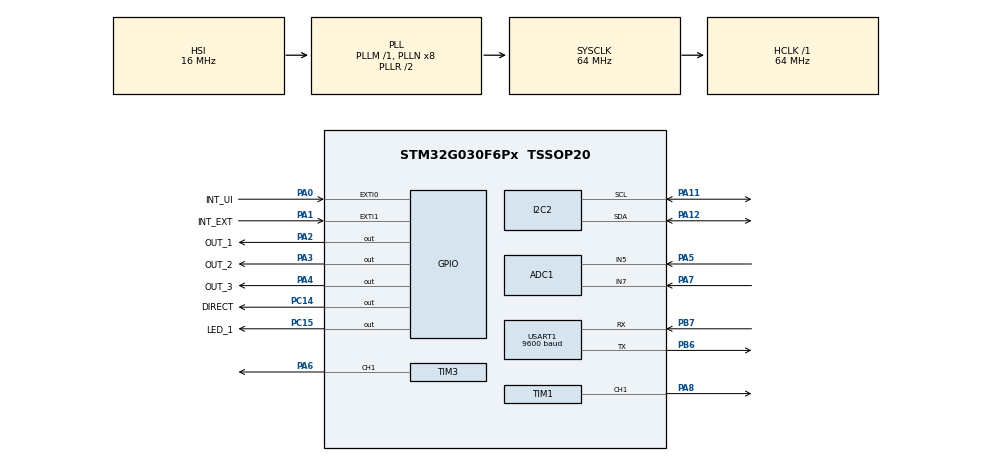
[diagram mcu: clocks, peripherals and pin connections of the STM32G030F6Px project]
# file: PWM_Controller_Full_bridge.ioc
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ADC1.Channel-0\#ChannelRegularConversion=ADC_CHANNEL_7
ADC1.ClockPrescaler=ADC_CLOCK_SYNC_PCLK_DIV4
ADC1.ContinuousConvMode=DISABLE
ADC1.NbrOfConversion=1
ADC1.NbrOfConversionFlag=1
ADC1.Rank-0\#ChannelRegularConversion=1
ADC1.SamplingTime-0\#ChannelRegularConversion=ADC_SAMPLINGTIME_COMMON_1
ADC1.SamplingTimeCommon1=ADC_SAMPLETIME_39CYCLES_5
ADC1.SamplingTimeCommon2=ADC_SAMPLETIME_39CYCLES_5
ADC1.SelectedChannel=ADC_CHANNEL_5|ADC_CHANNEL_7
ADC1.master=1
Dma.Request0=USART1_RX
Dma.Request1=USART1_TX
Dma.USART1_RX.0.Direction=DMA_PERIPH_TO_MEMORY
Dma.USART1_RX.0.EventEnable=DISABLE
Dma.USART1_RX.0.Instance=DMA1_Channel1
Dma.USART1_RX.0.MemDataAlignment=DMA_MDATAALIGN_BYTE
Dma.USART1_RX.0.MemInc=DMA_MINC_ENABLE
Dma.USART1_RX.0.Mode=DMA_NORMAL
Dma.USART1_RX.0.PeriphDataAlignment=DMA_PDATAALIGN_BYTE
Dma.USART1_RX.0.PeriphInc=DMA_PINC_DISABLE
Dma.USART1_RX.0.Polarity=HAL_DMAMUX_REQ_GEN_RISING
Dma.USART1_RX.0.Priority=DMA_PRIORITY_VERY_HIGH
Dma.USART1_RX.0.RequestNumber=1
Dma.USART1_RX.0.SignalID=NONE
Dma.USART1_RX.0.SyncEnable=DISABLE
Dma.USART1_RX.0.SyncPolarity=HAL_DMAMUX_SYNC_NO_EVENT
Dma.USART1_RX.0.SyncRequestNumber=1
Dma.USART1_RX.0.SyncSignalID=NONE
Dma.USART1_TX.1.Direction=DMA_MEMORY_TO_PERIPH
Dma.USART1_TX.1.EventEnable=DISABLE
Dma.USART1_TX.1.Instance=DMA1_Channel2
Dma.USART1_TX.1.MemDataAlignment=DMA_MDATAALIGN_BYTE
Dma.USART1_TX.1.MemInc=DMA_MINC_ENABLE
Dma.USART1_TX.1.Mode=DMA_NORMAL
Dma.USART1_TX.1.PeriphDataAlignment=DMA_PDATAALIGN_BYTE
Dma.USART1_TX.1.PeriphInc=DMA_PINC_DISABLE
Dma.USART1_TX.1.Polarity=HAL_DMAMUX_REQ_GEN_RISING
Dma.USART1_TX.1.Priority=DMA_PRIORITY_HIGH
Dma.USART1_TX.1.RequestNumber=1
Dma.USART1_TX.1.SignalID=NONE
Dma.USART1_TX.1.SyncEnable=DISABLE
Dma.USART1_TX.1.SyncPolarity=HAL_DMAMUX_SYNC_NO_EVENT
Dma.USART1_TX.1.SyncRequestNumber=1
Dma.USART1_TX.1.SyncSignalID=NONE
I2C2.Timing=0x10B17DB5
Mcu.Family=STM32G0
Mcu.Name=STM32G030F6Px
Mcu.Package=TSSOP20
NVIC.DMA1_Channel1_IRQn=true\:1\:0\:true\:false\:true\:false\:true\:true
NVIC.DMA1_Channel2_3_IRQn=true\:1\:0\:true\:false\:true\:false\:true\:true
NVIC.RCC_IRQn=true\:0\:0\:false\:false\:true\:true\:false\:true
NVIC.TIM14_IRQn=true\:3\:0\:true\:false\:true\:true\:true\:true
NVIC.USART1_IRQn=true\:1\:0\:true\:false\:true\:true\:true\:true
PA0.GPIO_Label=INT_UI
PA0.Signal=GPXTI0
PA1.GPIO_Label=INT_EXT
PA1.Signal=GPXTI1
PA11\ [PA9].Mode=I2C
PA11\ [PA9].Signal=I2C2_SCL
PA12\ [PA10].Mode=I2C
PA12\ [PA10].Signal=I2C2_SDA
PA13.Mode=Serial_Wire
PA13.Signal=SYS_SWDIO
PA14-BOOT0.Mode=Serial_Wire
PA14-BOOT0.Signal=SYS_SWCLK
PA14-BOOT0__PA15.StandardMode=true
PA2.GPIO_Label=OUT_1
PA2.Signal=GPIO_Output
PA3.GPIO_Label=OUT_2
PA3.Signal=GPIO_Output
PA4.GPIO_Label=OUT_3
PA4.Signal=GPIO_Output
PA5.Mode=IN5
PA5.Signal=ADC1_IN5
PA6.GPIO_ModeDefaultPP=GPIO_MODE_AF_PP
PA6.GPIO_PuPd=GPIO_NOPULL
PA6.GPIO_Speed=GPIO_SPEED_FREQ_HIGH
PA6.PinState=GPIO_PIN_SET
PA6.Signal=S_TIM3_CH1
PA7.Mode=IN7
PA7.Signal=ADC1_IN7
PA8.GPIO_ModeDefaultPP=GPIO_MODE_AF_PP
PA8.GPIO_PuPd=GPIO_NOPULL
PA8.GPIO_Speed=GPIO_SPEED_FREQ_HIGH
PA8.PinState=GPIO_PIN_SET
PA8.Signal=S_TIM1_CH1
PB0__PB1__PB2__PA8.StandardMode=true
PB3__PB4__PB5__PB6.StandardMode=true
PB6.Mode=Asynchronous
PB6.Signal=USART1_TX
PB7.Mode=Asynchronous
PB7.Signal=USART1_RX
PB7__PB8.StandardMode=true
PC14-OSC32_IN\ (PC14).GPIO_Label=DIRECT
PC14-OSC32_IN\ (PC14).Signal=GPIO_Output
PC14-OSC32_IN\ (PC14)__PB9.StandardMode=true
PC15-OSC32_OUT\ (PC15).GPIO_Label=LED_1
PC15-OSC32_OUT\ (PC15).Signal=GPIO_Output
ProjectManager.HeapSize=0x200
ProjectManager.StackSize=0x400
ProjectManager.TargetToolchain=STM32CubeIDE
RCC.ADCFreq_Value=64000000
RCC.AHBFreq_Value=64000000
RCC.CortexFreq_Value=64000000
RCC.EXTERNAL_CLOCK_VALUE=12288000
RCC.HCLKFreq_Value=64000000
RCC.HSE_VALUE=8000000
RCC.HSI_VALUE=16000000
RCC.LSE_VALUE=32768
RCC.SYSCLKFreq_VALUE=64000000
RCC.SYSCLKSource=RCC_SYSCLKSOURCE_PLLCLK
RCC.VCOOutputFreq_Value=128000000
SH.S_TIM1_CH1.0=TIM1_CH1,PWM Generation1 CH1
SH.S_TIM3_CH1.0=TIM3_CH1,PWM Generation1 CH1
TIM1.Channel-PWM\ Generation1\ CH1=TIM_CHANNEL_1
TIM1.OCFastMode_PWM-PWM\ Generation1\ CH1=TIM_OCFAST_ENABLE
TIM1.Period=700
TIM1.Pulse-PWM\ Generation1\ CH1=350
TIM1.TIM_MasterSlaveMode=TIM_MASTERSLAVEMODE_ENABLE
TIM14.Period=3000
TIM3.Channel-PWM\ Generation1\ CH1=TIM_CHANNEL_1
TIM3.OCFastMode_PWM-PWM\ Generation1\ CH1=TIM_OCFAST_ENABLE
TIM3.Period=700
TIM3.Pulse-PWM\ Generation1\ CH1=350
USART1.BaudRate=9600
USART1.VirtualMode-Asynchronous=VM_ASYNC
VP_TIM14_VS_ClockSourceINT.Mode=Enable_Timer
VP_TIM1_VS_ClockSourceINT.Mode=Internal
VP_TIM3_VS_ClockSourceITR.Mode=TriggerSource_ITR0
board=custom

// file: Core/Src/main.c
/* USER CODE BEGIN Header */
/**
  ******************************************************************************
  * @file           : main.c
  * @brief          : Main program body
  ******************************************************************************
  * @attention
  *
  * Copyright (c) 2024 STMicroelectronics.
  * All rights reserved.
  *
  * This software is licensed under terms that can be found in the LICENSE file
  * in the root directory of this software component.
  * If no LICENSE file comes with this software, it is provided AS-IS.
  *
  ******************************************************************************
  */
/* USER CODE END Header */
#include "main.h"

/* USER CODE BEGIN Includes */
#include "stdbool.h"
#include "modbusDevice.h"
#include "modbusSlave.h"
#include "Registers_handler.h"
/* USER CODE END Includes */

ADC_HandleTypeDef hadc1;

I2C_HandleTypeDef hi2c2;

TIM_HandleTypeDef htim1;
TIM_HandleTypeDef htim3;
TIM_HandleTypeDef htim14;

UART_HandleTypeDef huart1;
DMA_HandleTypeDef hdma_usart1_rx;
DMA_HandleTypeDef hdma_usart1_tx;

void SystemClock_Config(void);
static void MX_GPIO_Init(void);
static void MX_DMA_Init(void);
static void MX_I2C2_Init(void);
static void MX_TIM1_Init(void);
static void MX_TIM3_Init(void);
static void MX_USART1_UART_Init(void);
static void MX_ADC1_Init(void);
static void MX_TIM14_Init(void);
/* USER CODE BEGIN PFP */

# define LED_1_ON   HAL_GPIO_WritePin(GPIOC, GPIO_PIN_15, GPIO_PIN_SET)
# define LED_1_OFF  HAL_GPIO_WritePin(GPIOC, GPIO_PIN_15, GPIO_PIN_RESET)

# define TX_2   HAL_GPIO_WritePin(GPIOC, GPIO_PIN_14, GPIO_PIN_SET)
# define RX_2   HAL_GPIO_WritePin(GPIOC, GPIO_PIN_14, GPIO_PIN_RESET)

#define RX_BUFFER_SIZE 64
#define USART_TIMEOUT 900 // Таймаут в миллисекундах
uint32_t lastActivityTime = 0;
 bool usartBusy = false;

 volatile uint8_t uartDataReady = 0; // Флаг готовности данных
 volatile uint8_t uartDataSize = 0; // Размер принятых данных

 volatile uint16_t adc_results[2]; // Массив для хранения результатов
 volatile uint8_t adc_channel_index = 0;

uint8_t rxFrame[64];
uint8_t txFrame[255];
uint8_t SLAVE_ID=2;
uint16_t data_reg[16]={0,};
uint16_t rcv_data_reg[16]={0,};
uint8_t dicreteInputs=0;
uint8_t coils=0;
uint16_t timer1Freq=0;
uint16_t timer3Freq=0;
bool pwm_status=0;
bool dataStates[16];
 void Check_USART1_Timeout(void);
 void Reset_USART1(void);

 uint16_t calculateTimerFrequency(TIM_TypeDef *TIMx, uint32_t timerClockFreq);
 void setBitInUint16(uint16_t *reg, uint8_t bitPos, bool value);
 void unpackUint16ToBool(uint16_t value, bool *boolArray, uint8_t size);
/* USER CODE END PFP */

/* USER CODE BEGIN 0 */

 void Check_USART1_Timeout(void)
 {
     if (HAL_GetTick() - lastActivityTime >= USART_TIMEOUT)
     {

         Reset_USART1();
         RX_2;
         LED_1_OFF;
     }
 }

 void Reset_USART1(void) {
     // Включить индикатор (если требуется)
     LED_1_ON;

     // Остановить передачу и прием по DMA
     if (HAL_UART_DMAStop(&huart1) != HAL_OK) {
         // Обработка ошибки
     }

     // Прерывание активных DMA транзакций
     if (hdma_usart1_rx.Instance != NULL) {
         HAL_DMA_Abort(&hdma_usart1_rx);
     }
     if (hdma_usart1_tx.Instance != NULL) {
         HAL_DMA_Abort(&hdma_usart1_tx);
     }

     // Отключить все прерывания UART
     __HAL_UART_DISABLE_IT(&huart1, UART_IT_IDLE | UART_IT_TC | UART_IT_RXNE);

     // Сбросить флаги ошибок UART
     __HAL_UART_CLEAR_OREFLAG(&huart1);
     __HAL_UART_CLEAR_FEFLAG(&huart1);

     // Сбросить периферийный модуль USART1
     __HAL_RCC_USART1_FORCE_RESET();
     HAL_Delay(1); // Задержка для завершения сброса
     __HAL_RCC_USART1_RELEASE_RESET();

     // Деинициализация UART
     if (HAL_UART_DeInit(&huart1) != HAL_OK) {
         // Обработка ошибки
     }

     // Повторная инициализация UART
     MX_USART1_UART_Init();

     // Повторная настройка DMA
     MX_DMA_Init();

     // Настройка UART для приема данных с использованием DMA
     if (HAL_UARTEx_ReceiveToIdle_DMA(&huart1, rxFrame, RX_BUFFER_SIZE) != HAL_OK) {
         // Обработка ошибки
     }
     __HAL_DMA_DISABLE_IT(&hdma_usart1_rx, DMA_IT_HT);

     // Сброс параметров и таймеров
     lastActivityTime = HAL_GetTick();

 }

 uint16_t ADC_Read(uint32_t channel) {
     ADC_ChannelConfTypeDef sConfig = {0};

     // Настраиваем новый канал
     sConfig.Channel = channel;
     sConfig.Rank = ADC_REGULAR_RANK_1;
     sConfig.SamplingTime = ADC_SAMPLETIME_39CYCLES_5;
     if (HAL_ADC_ConfigChannel(&hadc1, &sConfig) != HAL_OK) {
         return 0;  // Возврат в случае ошибки
     }

     // Запуск одиночного преобразования
     if (HAL_ADC_Start(&hadc1) != HAL_OK) {
         return 0;  // Ошибка запуска
     }

     // Ожидание завершения преобразования
     if (HAL_ADC_PollForConversion(&hadc1, HAL_MAX_DELAY) != HAL_OK) {
         return 0;  // Ошибка преобразования
     }

     // Считываем значение
     uint16_t value = HAL_ADC_GetValue(&hadc1);

     // Останавливаем ADC после завершения
     HAL_ADC_Stop(&hadc1);

     return value;
 }

/* USER CODE END 0 */

int main(void)
{

  /* MCU Configuration--------------------------------------------------------*/

  /* Reset of all peripherals, Initializes the Flash interface and the Systick. */
  HAL_Init();

  /* Configure the system clock */
  SystemClock_Config();

  /* Initialize all configured peripherals */
  MX_GPIO_Init();
  MX_DMA_Init();
  MX_I2C2_Init();
  MX_TIM1_Init();
  MX_TIM3_Init();
  MX_USART1_UART_Init();
  MX_ADC1_Init();
  MX_TIM14_Init();
  /* USER CODE BEGIN 2 */
  HAL_ADCEx_Calibration_Start(&hadc1);
  HAL_TIM_PWM_Start(&htim1, TIM_CHANNEL_1);
  HAL_TIM_PWM_Start(&htim3, TIM_CHANNEL_1);

  HAL_UARTEx_ReceiveToIdle_DMA(&huart1, rxFrame, RX_BUFFER_SIZE);
   __HAL_DMA_DISABLE_IT(&hdma_usart1_rx, DMA_IT_HT);
   HAL_TIM_Base_Start_IT(&htim14);

   uint32_t timerClockFreq = 64000000;
  /* USER CODE END 2 */

  /* Infinite loop */
  /* USER CODE BEGIN WHILE */
  while (1)
  {
	  Check_USART1_Timeout();
	 // LED_1_ON;

	  // Расчет частоты для TIM1 и TIM3
	     timer1Freq = calculateTimerFrequency(TIM1, timerClockFreq);
	     timer3Freq = calculateTimerFrequency(TIM3, timerClockFreq);
    if(pwm_status==0) {HAL_TIM_PWM_Stop(&htim1, TIM_CHANNEL_1);
                       HAL_TIM_PWM_Stop(&htim3, TIM_CHANNEL_1);}

    else{HAL_TIM_PWM_Start(&htim1, TIM_CHANNEL_1);
         HAL_TIM_PWM_Start(&htim3, TIM_CHANNEL_1);}

    setBitInUint16(&data_reg[10], 0, pwm_status); // pwm_status в бит 0

    unpackUint16ToBool(rcv_data_reg[10], dataStates, 16);

    /* USER CODE END WHILE */

  }
}

void SystemClock_Config(void)
{
  RCC_OscInitTypeDef RCC_OscInitStruct = {0};
  RCC_ClkInitTypeDef RCC_ClkInitStruct = {0};

  /** Configure the main internal regulator output voltage
  */
  HAL_PWREx_ControlVoltageScaling(PWR_REGULATOR_VOLTAGE_SCALE1);

  /** Initializes the RCC Oscillators according to the specified parameters
  * in the RCC_OscInitTypeDef structure.
  */
  RCC_OscInitStruct.OscillatorType = RCC_OSCILLATORTYPE_HSI;
  RCC_OscInitStruct.HSIState = RCC_HSI_ON;
  RCC_OscInitStruct.HSIDiv = RCC_HSI_DIV1;
  RCC_OscInitStruct.HSICalibrationValue = RCC_HSICALIBRATION_DEFAULT;
  RCC_OscInitStruct.PLL.PLLState = RCC_PLL_ON;
  RCC_OscInitStruct.PLL.PLLSource = RCC_PLLSOURCE_HSI;
  RCC_OscInitStruct.PLL.PLLM = RCC_PLLM_DIV1;
  RCC_OscInitStruct.PLL.PLLN = 8;
  RCC_OscInitStruct.PLL.PLLP = RCC_PLLP_DIV2;
  RCC_OscInitStruct.PLL.PLLR = RCC_PLLR_DIV2;
  if (HAL_RCC_OscConfig(&RCC_OscInitStruct) != HAL_OK)
  {
    Error_Handler();
  }

  /** Initializes the CPU, AHB and APB buses clocks
  */
  RCC_ClkInitStruct.ClockType = RCC_CLOCKTYPE_HCLK|RCC_CLOCKTYPE_SYSCLK
                              |RCC_CLOCKTYPE_PCLK1;
  RCC_ClkInitStruct.SYSCLKSource = RCC_SYSCLKSOURCE_PLLCLK;
  RCC_ClkInitStruct.AHBCLKDivider = RCC_SYSCLK_DIV1;
  RCC_ClkInitStruct.APB1CLKDivider = RCC_HCLK_DIV1;

  if (HAL_RCC_ClockConfig(&RCC_ClkInitStruct, FLASH_LATENCY_2) != HAL_OK)
  {
    Error_Handler();
  }
}

static void MX_ADC1_Init(void)
{

  ADC_ChannelConfTypeDef sConfig = {0};

  /** Configure the global features of the ADC (Clock, Resolution, Data Alignment and number of conversion)
  */
  hadc1.Instance = ADC1;
  hadc1.Init.ClockPrescaler = ADC_CLOCK_SYNC_PCLK_DIV4;
  hadc1.Init.Resolution = ADC_RESOLUTION_12B;
  hadc1.Init.DataAlign = ADC_DATAALIGN_RIGHT;
  hadc1.Init.ScanConvMode = ADC_SCAN_DISABLE;
  hadc1.Init.EOCSelection = ADC_EOC_SINGLE_CONV;
  hadc1.Init.LowPowerAutoWait = DISABLE;
  hadc1.Init.LowPowerAutoPowerOff = DISABLE;
  hadc1.Init.ContinuousConvMode = DISABLE;
  hadc1.Init.NbrOfConversion = 1;
  hadc1.Init.DiscontinuousConvMode = DISABLE;
  hadc1.Init.ExternalTrigConv = ADC_SOFTWARE_START;
  hadc1.Init.ExternalTrigConvEdge = ADC_EXTERNALTRIGCONVEDGE_NONE;
  hadc1.Init.DMAContinuousRequests = DISABLE;
  hadc1.Init.Overrun = ADC_OVR_DATA_PRESERVED;
  hadc1.Init.SamplingTimeCommon1 = ADC_SAMPLETIME_39CYCLES_5;
  hadc1.Init.SamplingTimeCommon2 = ADC_SAMPLETIME_39CYCLES_5;
  hadc1.Init.OversamplingMode = DISABLE;
  hadc1.Init.TriggerFrequencyMode = ADC_TRIGGER_FREQ_HIGH;
  if (HAL_ADC_Init(&hadc1) != HAL_OK)
  {
    Error_Handler();
  }

  /** Configure Regular Channel
  */
  sConfig.Channel = ADC_CHANNEL_7;
  sConfig.Rank = ADC_REGULAR_RANK_1;
  sConfig.SamplingTime = ADC_SAMPLINGTIME_COMMON_1;
  if (HAL_ADC_ConfigChannel(&hadc1, &sConfig) != HAL_OK)
  {
    Error_Handler();
  }

}

static void MX_I2C2_Init(void)
{

  hi2c2.Instance = I2C2;
  hi2c2.Init.Timing = 0x10B17DB5;
  hi2c2.Init.OwnAddress1 = 0;
  hi2c2.Init.AddressingMode = I2C_ADDRESSINGMODE_7BIT;
  hi2c2.Init.DualAddressMode = I2C_DUALADDRESS_DISABLE;
  hi2c2.Init.OwnAddress2 = 0;
  hi2c2.Init.OwnAddress2Masks = I2C_OA2_NOMASK;
  hi2c2.Init.GeneralCallMode = I2C_GENERALCALL_DISABLE;
  hi2c2.Init.NoStretchMode = I2C_NOSTRETCH_DISABLE;
  if (HAL_I2C_Init(&hi2c2) != HAL_OK)
  {
    Error_Handler();
  }

  /** Configure Analogue filter
  */
  if (HAL_I2CEx_ConfigAnalogFilter(&hi2c2, I2C_ANALOGFILTER_ENABLE) != HAL_OK)
  {
    Error_Handler();
  }

  /** Configure Digital filter
  */
  if (HAL_I2CEx_ConfigDigitalFilter(&hi2c2, 0) != HAL_OK)
  {
    Error_Handler();
  }

}

static void MX_TIM1_Init(void)
{

  TIM_ClockConfigTypeDef sClockSourceConfig = {0};
  TIM_MasterConfigTypeDef sMasterConfig = {0};
  TIM_OC_InitTypeDef sConfigOC = {0};
  TIM_BreakDeadTimeConfigTypeDef sBreakDeadTimeConfig = {0};

  htim1.Instance = TIM1;
  htim1.Init.Prescaler = 0;
  htim1.Init.CounterMode = TIM_COUNTERMODE_UP;
  htim1.Init.Period = 700;
  htim1.Init.ClockDivision = TIM_CLOCKDIVISION_DIV1;
  htim1.Init.RepetitionCounter = 0;
  htim1.Init.AutoReloadPreload = TIM_AUTORELOAD_PRELOAD_DISABLE;
  if (HAL_TIM_Base_Init(&htim1) != HAL_OK)
  {
    Error_Handler();
  }
  sClockSourceConfig.ClockSource = TIM_CLOCKSOURCE_INTERNAL;
  if (HAL_TIM_ConfigClockSource(&htim1, &sClockSourceConfig) != HAL_OK)
  {
    Error_Handler();
  }
  if (HAL_TIM_PWM_Init(&htim1) != HAL_OK)
  {
    Error_Handler();
  }
  sMasterConfig.MasterOutputTrigger = TIM_TRGO_RESET;
  sMasterConfig.MasterOutputTrigger2 = TIM_TRGO2_RESET;
  sMasterConfig.MasterSlaveMode = TIM_MASTERSLAVEMODE_ENABLE;
  if (HAL_TIMEx_MasterConfigSynchronization(&htim1, &sMasterConfig) != HAL_OK)
  {
    Error_Handler();
  }
  sConfigOC.OCMode = TIM_OCMODE_PWM1;
  sConfigOC.Pulse = 350;
  sConfigOC.OCPolarity = TIM_OCPOLARITY_HIGH;
  sConfigOC.OCNPolarity = TIM_OCNPOLARITY_HIGH;
  sConfigOC.OCFastMode = TIM_OCFAST_ENABLE;
  sConfigOC.OCIdleState = TIM_OCIDLESTATE_RESET;
  sConfigOC.OCNIdleState = TIM_OCNIDLESTATE_RESET;
  if (HAL_TIM_PWM_ConfigChannel(&htim1, &sConfigOC, TIM_CHANNEL_1) != HAL_OK)
  {
    Error_Handler();
  }
  sBreakDeadTimeConfig.OffStateRunMode = TIM_OSSR_DISABLE;
  sBreakDeadTimeConfig.OffStateIDLEMode = TIM_OSSI_DISABLE;
  sBreakDeadTimeConfig.LockLevel = TIM_LOCKLEVEL_OFF;
  sBreakDeadTimeConfig.DeadTime = 0;
  sBreakDeadTimeConfig.BreakState = TIM_BREAK_DISABLE;
  sBreakDeadTimeConfig.BreakPolarity = TIM_BREAKPOLARITY_HIGH;
  sBreakDeadTimeConfig.BreakFilter = 0;
  sBreakDeadTimeConfig.BreakAFMode = TIM_BREAK_AFMODE_INPUT;
  sBreakDeadTimeConfig.Break2State = TIM_BREAK2_DISABLE;
  sBreakDeadTimeConfig.Break2Polarity = TIM_BREAK2POLARITY_HIGH;
  sBreakDeadTimeConfig.Break2Filter = 0;
  sBreakDeadTimeConfig.Break2AFMode = TIM_BREAK_AFMODE_INPUT;
  sBreakDeadTimeConfig.AutomaticOutput = TIM_AUTOMATICOUTPUT_DISABLE;
  if (HAL_TIMEx_ConfigBreakDeadTime(&htim1, &sBreakDeadTimeConfig) != HAL_OK)
  {
    Error_Handler();
  }
  HAL_TIM_MspPostInit(&htim1);

}

static void MX_TIM3_Init(void)
{

  TIM_SlaveConfigTypeDef sSlaveConfig = {0};
  TIM_MasterConfigTypeDef sMasterConfig = {0};
  TIM_OC_InitTypeDef sConfigOC = {0};

  htim3.Instance = TIM3;
  htim3.Init.Prescaler = 0;
  htim3.Init.CounterMode = TIM_COUNTERMODE_UP;
  htim3.Init.Period = 700;
  htim3.Init.ClockDivision = TIM_CLOCKDIVISION_DIV1;
  htim3.Init.AutoReloadPreload = TIM_AUTORELOAD_PRELOAD_DISABLE;
  if (HAL_TIM_Base_Init(&htim3) != HAL_OK)
  {
    Error_Handler();
  }
  if (HAL_TIM_PWM_Init(&htim3) != HAL_OK)
  {
    Error_Handler();
  }
  sSlaveConfig.SlaveMode = TIM_SLAVEMODE_DISABLE;
  sSlaveConfig.InputTrigger = TIM_TS_ITR0;
  if (HAL_TIM_SlaveConfigSynchro(&htim3, &sSlaveConfig) != HAL_OK)
  {
    Error_Handler();
  }
  sMasterConfig.MasterOutputTrigger = TIM_TRGO_RESET;
  sMasterConfig.MasterSlaveMode = TIM_MASTERSLAVEMODE_DISABLE;
  if (HAL_TIMEx_MasterConfigSynchronization(&htim3, &sMasterConfig) != HAL_OK)
  {
    Error_Handler();
  }
  sConfigOC.OCMode = TIM_OCMODE_PWM1;
  sConfigOC.Pulse = 350;
  sConfigOC.OCPolarity = TIM_OCPOLARITY_HIGH;
  sConfigOC.OCFastMode = TIM_OCFAST_ENABLE;
  if (HAL_TIM_PWM_ConfigChannel(&htim3, &sConfigOC, TIM_CHANNEL_1) != HAL_OK)
  {
    Error_Handler();
  }
  HAL_TIM_MspPostInit(&htim3);

}

static void MX_TIM14_Init(void)
{

  htim14.Instance = TIM14;
  htim14.Init.Prescaler = 0;
  htim14.Init.CounterMode = TIM_COUNTERMODE_UP;
  htim14.Init.Period = 3000;
  htim14.Init.ClockDivision = TIM_CLOCKDIVISION_DIV1;
  htim14.Init.AutoReloadPreload = TIM_AUTORELOAD_PRELOAD_DISABLE;
  if (HAL_TIM_Base_Init(&htim14) != HAL_OK)
  {
    Error_Handler();
  }

}

static void MX_USART1_UART_Init(void)
{

  huart1.Instance = USART1;
  huart1.Init.BaudRate = 9600;
  huart1.Init.WordLength = UART_WORDLENGTH_8B;
  huart1.Init.StopBits = UART_STOPBITS_1;
  huart1.Init.Parity = UART_PARITY_NONE;
  huart1.Init.Mode = UART_MODE_TX_RX;
  huart1.Init.HwFlowCtl = UART_HWCONTROL_NONE;
  huart1.Init.OverSampling = UART_OVERSAMPLING_16;
  huart1.Init.OneBitSampling = UART_ONE_BIT_SAMPLE_DISABLE;
  huart1.Init.ClockPrescaler = UART_PRESCALER_DIV1;
  huart1.AdvancedInit.AdvFeatureInit = UART_ADVFEATURE_NO_INIT;
  if (HAL_UART_Init(&huart1) != HAL_OK)
  {
    Error_Handler();
  }
  if (HAL_UARTEx_SetTxFifoThreshold(&huart1, UART_TXFIFO_THRESHOLD_1_8) != HAL_OK)
  {
    Error_Handler();
  }
  if (HAL_UARTEx_SetRxFifoThreshold(&huart1, UART_RXFIFO_THRESHOLD_1_8) != HAL_OK)
  {
    Error_Handler();
  }
  if (HAL_UARTEx_DisableFifoMode(&huart1) != HAL_OK)
  {
    Error_Handler();
  }

}

static void MX_DMA_Init(void)
{

  /* DMA controller clock enable */
  __HAL_RCC_DMA1_CLK_ENABLE();

  /* DMA interrupt init */
  /* DMA1_Channel1_IRQn interrupt configuration */
  HAL_NVIC_SetPriority(DMA1_Channel1_IRQn, 1, 0);
  HAL_NVIC_EnableIRQ(DMA1_Channel1_IRQn);
  /* DMA1_Channel2_3_IRQn interrupt configuration */
  HAL_NVIC_SetPriority(DMA1_Channel2_3_IRQn, 1, 0);
  HAL_NVIC_EnableIRQ(DMA1_Channel2_3_IRQn);

}

static void MX_GPIO_Init(void)
{
  GPIO_InitTypeDef GPIO_InitStruct = {0};

  /* GPIO Ports Clock Enable */
  __HAL_RCC_GPIOB_CLK_ENABLE();
  __HAL_RCC_GPIOC_CLK_ENABLE();
  __HAL_RCC_GPIOA_CLK_ENABLE();

  /*Configure GPIO pin Output Level */
  HAL_GPIO_WritePin(GPIOC, DIRECT_Pin|LED_1_Pin, GPIO_PIN_RESET);

  /*Configure GPIO pin Output Level */
  HAL_GPIO_WritePin(GPIOA, OUT_1_Pin|OUT_2_Pin|OUT_3_Pin, GPIO_PIN_RESET);

  /*Configure GPIO pins : DIRECT_Pin LED_1_Pin */
  GPIO_InitStruct.Pin = DIRECT_Pin|LED_1_Pin;
  GPIO_InitStruct.Mode = GPIO_MODE_OUTPUT_PP;
  GPIO_InitStruct.Pull = GPIO_NOPULL;
  GPIO_InitStruct.Speed = GPIO_SPEED_FREQ_LOW;
  HAL_GPIO_Init(GPIOC, &GPIO_InitStruct);

  /*Configure GPIO pins : INT_UI_Pin INT_EXT_Pin */
  GPIO_InitStruct.Pin = INT_UI_Pin|INT_EXT_Pin;
  GPIO_InitStruct.Mode = GPIO_MODE_IT_RISING;
  GPIO_InitStruct.Pull = GPIO_NOPULL;
  HAL_GPIO_Init(GPIOA, &GPIO_InitStruct);

  /*Configure GPIO pins : OUT_1_Pin OUT_2_Pin OUT_3_Pin */
  GPIO_InitStruct.Pin = OUT_1_Pin|OUT_2_Pin|OUT_3_Pin;
  GPIO_InitStruct.Mode = GPIO_MODE_OUTPUT_PP;
  GPIO_InitStruct.Pull = GPIO_NOPULL;
  GPIO_InitStruct.Speed = GPIO_SPEED_FREQ_LOW;
  HAL_GPIO_Init(GPIOA, &GPIO_InitStruct);

}

/* USER CODE BEGIN 4 */
void HAL_UART_TxCpltCallback(UART_HandleTypeDef *huart)

{

	    RX_2;
	    lastActivityTime = HAL_GetTick();
	    HAL_UARTEx_ReceiveToIdle_DMA(&huart1, rxFrame,RX_BUFFER_SIZE);
	    __HAL_UART_ENABLE_IT(&huart1, UART_IT_IDLE);
	    __HAL_DMA_DISABLE_IT(&hdma_usart1_rx, DMA_IT_HT);
	    HAL_TIM_Base_Start_IT(&htim14);
	    LED_1_OFF;
}

void HAL_UARTEx_RxEventCallback(UART_HandleTypeDef *huart, uint16_t Size)
{
	if (huart->Instance == USART1)
	{

        LED_1_ON;
        HAL_TIM_Base_Stop_IT(&htim14);
		lastActivityTime = HAL_GetTick();
	    __HAL_UART_DISABLE_IT(&huart1, UART_IT_IDLE);
	    HAL_DMA_Abort(&hdma_usart1_rx);
	    Registers_handler(rxFrame, data_reg, rcv_data_reg,Size);
	  //  HAL_TIM_Base_Start_IT(&htim14);
	}
}

void HAL_TIM_PeriodElapsedCallback(TIM_HandleTypeDef *htim)
{
    if(htim->Instance == TIM14)  // Проверяем, от какого таймера пришло прерывание
    {

    	data_reg[0]=timer1Freq;
    	data_reg[1]=timer3Freq;
    	data_reg[2] = ADC_Read(ADC_CHANNEL_5); // Преобразование для канала 5
    	data_reg[3] = ADC_Read(ADC_CHANNEL_7); // Преобразование для канала 7

    }
}

// Функция расчёта частоты таймера
uint16_t calculateTimerFrequency(TIM_TypeDef *TIMx, uint32_t timerClockFreq) {
    uint32_t arr = TIMx->ARR;  // Значение ARR
    return timerClockFreq / (arr + 1)/2;
}

// Функция для установки значения переменной в определённый бит регистра
void setBitInUint16(uint16_t *reg, uint8_t bitPos, bool value) {
    if (bitPos < 16) { // Убедимся, что номер бита в пределах 0-15
        if (value) {
            *reg |= (1 << bitPos); // Установить бит
        } else {
            *reg &= ~(1 << bitPos); // Сбросить бит
        }
    }
}

void unpackUint16ToBool(uint16_t value, bool *boolArray, uint8_t size) {
    for (uint8_t i = 0; i < size && i < 16; i++) {
        boolArray[i] = (value >> i) & 0x01;
    }
}
/* USER CODE END 4 */

void Error_Handler(void)
{
  __disable_irq();
  while (1)
  {
  }
}
